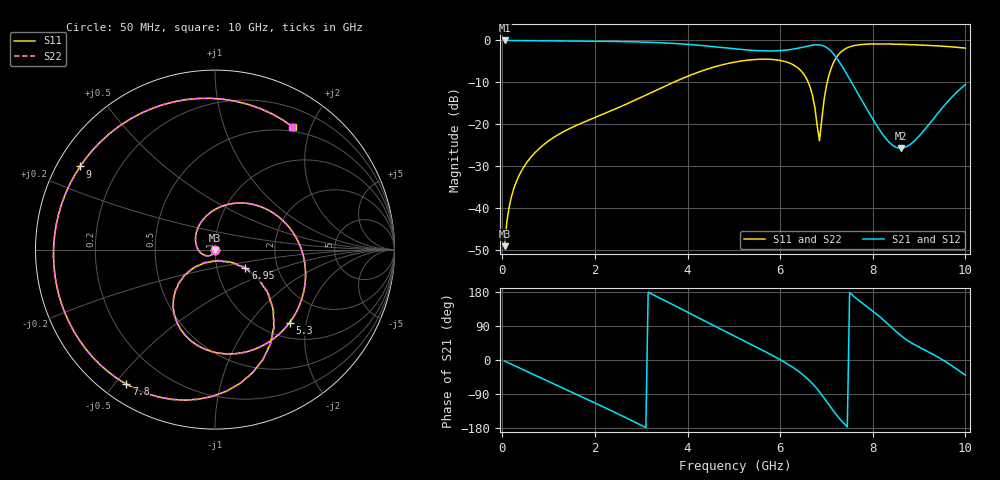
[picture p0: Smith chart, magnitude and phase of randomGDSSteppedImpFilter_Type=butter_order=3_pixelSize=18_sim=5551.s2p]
! freq	dB(S11)	phase(S11)	dB(S12)	phase(S12)
!  dB(S21)	phase(S21)	dB(S22)	phase(S22)
!S-par simulation data
#  GHz  S  DB  R 50
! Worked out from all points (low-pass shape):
!   200 points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, 50 MHz to 10 GHz, reference 50 ohm
!   highest |S21| = 0.00 dB at 50 MHz (marker M1); lowest = -25.7 dB at 8.6 GHz (marker M2)
!   |S21| within 3 dB of the highest: start of sweep to 7.135 GHz
!   lowest |S11| = -49.1 dB at 50 MHz (marker M3), VSWR 1.01, Z = 50 - j0.349 ohm
!   |S11| at or under -10 dB: start of sweep to 3.696 GHz; 6.607 GHz to 7.017 GHz (409.8 MHz wide, 6.02 % of centre)
!   |S22| runs from -49.1 to -0.8 dB; largest |S21 - S12| = 0
!   S11 on the Smith chart (normalised r, x): 50 MHz: 1.00, -0.01; 5.3 GHz: 1.31, -1.61; 6.95 GHz: 1.37, -0.30; 7.8 GHz: 0.07, -0.54; 9 GHz: 0.07, +0.28; 10 GHz: 0.44, +1.73
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0.05  -49.13 -93.4  -0.00 -2.8  -0.00 -2.8  -49.13 -93.4
0.2  -37.22 -103.0  -0.01 -11.3  -0.01 -11.3  -37.22 -103.0
0.45  -30.47 -117.7  -0.03 -25.3  -0.03 -25.3  -30.47 -117.7
1.15  -22.88 -157.3  -0.08 -64.7  -0.08 -64.7  -22.88 -157.3
1.75  -19.56 168.8  -0.14 -98.8  -0.14 -98.8  -19.56 168.7
2.65  -15.34 117.1  -0.28 -151.2  -0.28 -151.2  -15.34 117.0
3.4  -11.49 72.3  -0.54 163.5  -0.54 163.5  -11.49 72.3
4.25  -7.51 20.0  -1.16 110.6  -1.16 110.6  -7.51 19.9
5.05  -5.11 -29.2  -2.03 60.8  -2.03 60.8  -5.11 -29.2
5.3  -4.71 -44.3  -2.28 45.5  -2.28 45.5  -4.71 -44.4
6.05  -4.89 -91.3  -2.38 -2.7  -2.38 -2.7  -4.89 -91.5
6.7  -13.17 -139.7  -1.13 -62.5  -1.13 -62.5  -13.19 -140.3
6.85  -23.94 -79.0  -1.07 -83.9  -1.07 -83.9  -24.27 -78.7
6.95  -14.04 -31.5  -1.36 -100.2  -1.36 -100.2  -14.08 -30.8
7.25  -3.49 -66.6  -4.67 -150.0  -4.67 -150.0  -3.50 -66.4
7.5  -1.53 -96.3  -9.22 177.6  -9.22 177.6  -1.53 -96.2
7.8  -0.93 -123.4  -15.01 147.5  -15.01 147.5  -0.93 -123.3
8.35  -0.86 -163.7  -24.26 92.4  -24.26 92.4  -0.86 -163.6
8.6  -0.93 178.5  -25.73 65.2  -25.73 65.2  -0.92 178.6
9  -1.08 148.3  -22.85 34.1  -22.85 34.1  -1.08 148.5
9.55  -1.40 101.0  -15.47 -2.8  -15.47 -2.8  -1.40 101.1
10  -1.84 57.6  -10.53 -40.3  -10.53 -40.3  -1.84 57.8
